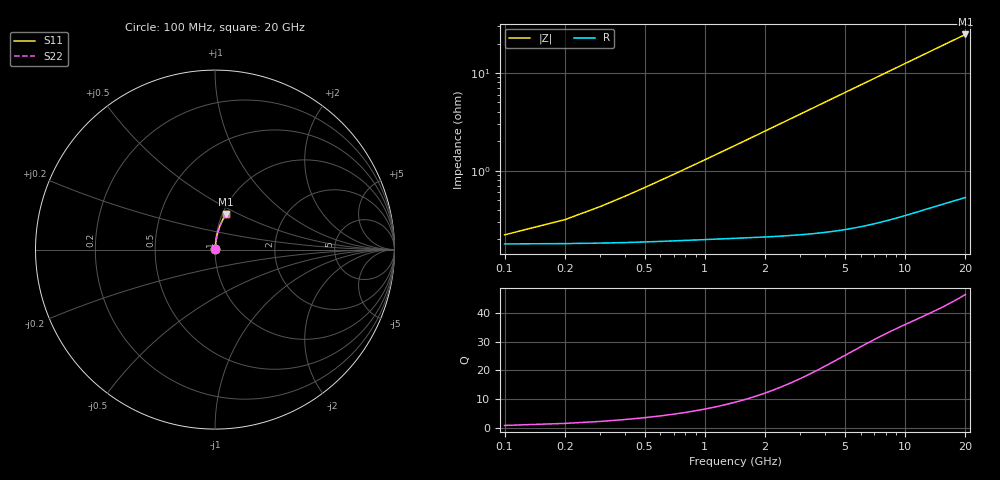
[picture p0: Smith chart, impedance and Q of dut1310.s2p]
! Touchstone file exported from HFSS 2026.1.0
!  File:  C:/ffzhzh/LocalFiles/Ansys_Project_Files/temp_train_TMRDL_1310_1783164855_51560.aedt
!  Generated:  07:35:28 PM Jul  4, 2026
!  Design:  TMRDL
!  Project:  temp_train_TMRDL_1310_1783164855_51560
! Variables:
!  h_bsmrdl = 2um
!  h_ox = 20um
!  h_rdl = 5um
!  h_sub = 80um
!  h_tmrdl = 3.09um
!  h_tsv = 80um
!  h_via = 3um
!  l_bsmrdl = 300um
!  l_sub = 550.92um
!  l_tmrdl = 150.92um
!  m_sub = 200um
!  pitch = 47.73um
!  r_tsv = 6um
!  s_tmrdl = 10um
!  w_bsmrdl = 18um
!  w_sub = 500um
!  w_tmrdl = 10.8um
!  x_tsv_center1 = 156.32um
!  x_tsv_center2 = 474.32um
!  x_tsv_center3 = 636.04um
!  x_tsv_center4 = 954.04um
!  x_tsv_center5 = 1115.76um
!  x_tsv_center6 = 1433.76um
# GHz S MA R 50.000000
! Terminal data exported
! Port[1] = TM_RDL1_1_T1
! Port[2] = TM_RDL1_1_T2
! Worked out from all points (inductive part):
!   200 points, 100 MHz to 20 GHz, reference 50 ohm
!   read as one part in series: L = 204 pH near 500 MHz
!   highest Q = 46.6 at 20 GHz (marker M1), where L = 197 pH
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0.1  0.002105 32.4  0.9982 -0.1  0.9982 -0.1  0.002105 32.4
! Gamma 0 0 0 0
! Port Impedance 50 0 50 0
0.2  0.002881 51.4  0.9982 -0.2  0.9982 -0.2  0.002881 51.4
0.3  0.003833 61.6  0.9982 -0.3  0.9982 -0.3  0.003833 61.6
0.4  0.004853 67.5  0.9982 -0.3  0.9982 -0.3  0.004853 67.5
0.5  0.005901 71.2  0.9981 -0.4  0.9981 -0.4  0.005901 71.2
0.6  0.006962 73.8  0.9981 -0.5  0.9981 -0.5  0.006962 73.8
0.8  0.009101 77.1  0.998 -0.7  0.998 -0.7  0.009101 77.1
1.1  0.01233 79.8  0.9979 -0.9  0.9979 -0.9  0.01233 79.8
1.5  0.01665 81.8  0.9978 -1.2  0.9978 -1.2  0.01665 81.8
1.8  0.0199 82.6  0.9977 -1.5  0.9977 -1.5  0.0199 82.6
2.1  0.02315 83.1  0.9976 -1.7  0.9976 -1.7  0.02315 83.1
2.7  0.02966 83.6  0.9974 -2.2  0.9974 -2.2  0.02966 83.6
3.5  0.03834 83.8  0.997 -2.9  0.997 -2.9  0.03834 83.8
4.2  0.04592 83.6  0.9966 -3.4  0.9966 -3.4  0.04592 83.6
5  0.05456 83.3  0.996 -4.1  0.996 -4.1  0.05456 83.3
5.9  0.06425 82.8  0.9953 -4.8  0.9953 -4.8  0.06425 82.8
6.8  0.07389 82.3  0.9945 -5.5  0.9945 -5.5  0.07389 82.3
8.3  0.08984 81.3  0.9929 -6.7  0.9929 -6.7  0.08984 81.3
10.1  0.1088 80.0  0.9906 -8.2  0.9906 -8.2  0.1088 80.0
13.4  0.1429 77.6  0.9856 -10.8  0.9856 -10.8  0.1429 77.6
16.7  0.1762 75.2  0.9797 -13.3  0.9797 -13.3  0.1762 75.1
20  0.2086 72.7  0.9728 -15.9  0.9728 -15.9  0.2086 72.7
